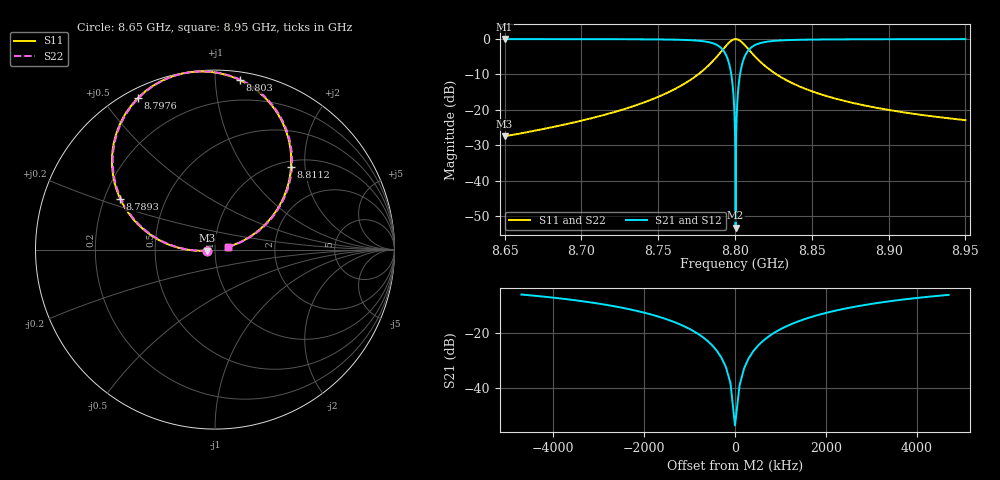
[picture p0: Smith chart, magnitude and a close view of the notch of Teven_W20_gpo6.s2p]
! Sonnet Data File
! From: emgraph Version : 16.52
! From Project: transmon_trial
! Data is De-embedded
! Data File Written: 10/20/2017 09:13:06
!< HDATE 10/19/2017 20:03:37
!< MDATE 10/19/2017 20:10:25
!< PARAMS
!< Lj = 15.24
!< Gap = 6.0
!< Width = 20.0
!< Airgap = 12.0
!< Pwidth = 2000.0
!< END PARAMS
# GHZ S MA R 51.00000
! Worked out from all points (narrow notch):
!   3001 points, 8.65 GHz to 8.95 GHz, reference 51 ohm
!   highest |S21| = -0.01 dB at 8.65 GHz (marker M1); lowest = -53.3 dB at 8.8004 GHz (marker M2)
!   notch at M2: 53.3 dB deep, 791 kHz wide at half that depth
!   lowest |S11| = -27.5 dB at 8.65 GHz (marker M3), VSWR 1.09, Z = 46.9 - j0.504 ohm
!   |S11| at or under -10 dB: start of sweep to 8.776 GHz; 8.8271 GHz to end of sweep
!   |S22| runs from -27.5 to 0.0 dB; largest |S21 - S12| = 0
!   S11 on the Smith chart (normalised r, x): 8.65 GHz: 0.92, -0.01; 8.7893 GHz: 0.26, +0.24; 8.7976 GHz: 0.04, +0.61; 8.803 GHz: 0.05, +1.15; 8.8112 GHz: 1.12, +1.69; 8.95 GHz: 1.15, +0.03
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8.65  0.04223 -172.7  0.9991 -82.7  0.9991 -82.7  0.04223 -172.6
!< P1 F=8.65 Eeff=(6.44623598 -2.9974e-5) Z0=(50.9069312 1.15726e-4) R=0.0 C=0.0
!< P2 F=8.65 Eeff=(6.44623598 -2.9974e-5) Z0=(50.9069312 1.15726e-4) R=0.0 C=0.0
8.7  0.07017 -174.7  0.9975 -84.7  0.9975 -84.7  0.07017 -174.8
8.75  0.1525 -179.8  0.9882 -90.0  0.9882 -90.0  0.1525 179.9
8.7774  0.3347 169.2  0.9421 -101.0  0.9421 -101.0  0.3347 168.8
8.7843  0.4567 161.5  0.8891 -108.7  0.8891 -108.7  0.4567 161.0
8.7893  0.6003 151.7  0.7988 -118.4  0.7988 -118.4  0.6003 151.2
8.7945  0.8176 133.7  0.5734 -136.4  0.5734 -136.4  0.8176 133.2
8.7976  0.9474 116.9  0.314 -153.0  0.314 -153.0  0.9474 116.4
8.7985  0.9737 111.3  0.2188 -158.5  0.2188 -158.5  0.9737 110.8
8.7993  0.9896 106.0  0.1288 -163.3  0.1288 -163.3  0.9896 105.5
8.8  0.9968 101.3  0.04755 -166.4  0.04755 -166.4  0.9968 100.8
8.8004  0.9979 98.7  0.00216 -97.8  0.00216 -97.8  0.9979 98.1
8.8015  0.9898 91.3  0.1272 0.1  0.1272 0.1  0.9898 90.8
8.8023  0.9743 86.1  0.2164 -4.7  0.2164 -4.7  0.9743 85.6
8.803  0.955 81.7  0.2901 -8.9  0.2901 -8.9  0.955 81.2
8.806  0.8367 65.5  0.5451 -24.9  0.5451 -24.9  0.8367 65.0
8.8112  0.6254 47.3  0.7793 -43.0  0.7793 -43.0  0.6254 46.8
8.8167  0.4726 36.8  0.8808 -53.6  0.8808 -53.6  0.4726 36.2
8.8239  0.3524 29.1  0.9356 -61.2  0.9356 -61.2  0.3524 28.5
8.85  0.183 18.8  0.9831 -71.6  0.9831 -71.6  0.183 18.1
8.9  0.0996 13.6  0.995 -76.8  0.995 -76.8  0.0996 12.8
8.95  0.07145 11.5  0.9974 -78.9  0.9974 -78.9  0.07145 10.6
